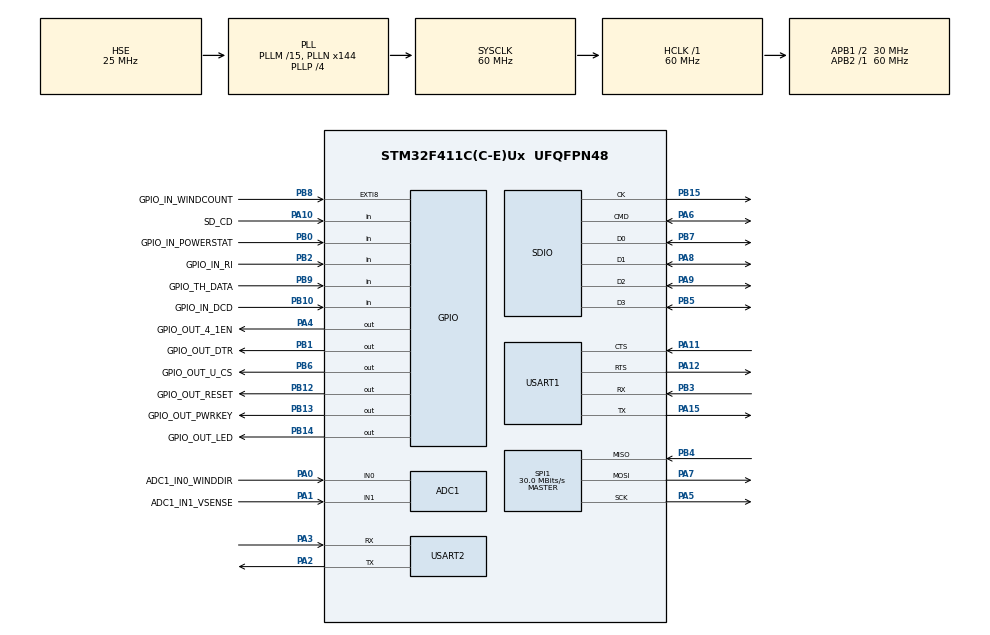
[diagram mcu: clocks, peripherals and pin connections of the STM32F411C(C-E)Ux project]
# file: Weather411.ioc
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ADC1.Channel-14\#ChannelRegularConversion=ADC_CHANNEL_0
ADC1.Channel-15\#ChannelRegularConversion=ADC_CHANNEL_1
ADC1.ContinuousConvMode=ENABLE
ADC1.DMAContinuousRequests=ENABLE
ADC1.EOCSelection=ADC_EOC_SEQ_CONV
ADC1.NbrOfConversion=2
ADC1.NbrOfConversionFlag=1
ADC1.Rank-14\#ChannelRegularConversion=1
ADC1.Rank-15\#ChannelRegularConversion=2
ADC1.SamplingTime-14\#ChannelRegularConversion=ADC_SAMPLETIME_480CYCLES
ADC1.SamplingTime-15\#ChannelRegularConversion=ADC_SAMPLETIME_480CYCLES
ADC1.master=1
Dma.ADC1.0.Direction=DMA_PERIPH_TO_MEMORY
Dma.ADC1.0.FIFOMode=DMA_FIFOMODE_DISABLE
Dma.ADC1.0.Instance=DMA2_Stream0
Dma.ADC1.0.MemDataAlignment=DMA_MDATAALIGN_WORD
Dma.ADC1.0.MemInc=DMA_MINC_ENABLE
Dma.ADC1.0.Mode=DMA_CIRCULAR
Dma.ADC1.0.PeriphDataAlignment=DMA_PDATAALIGN_WORD
Dma.ADC1.0.PeriphInc=DMA_PINC_DISABLE
Dma.ADC1.0.Priority=DMA_PRIORITY_LOW
Dma.Request0=ADC1
Dma.Request1=SDIO_RX
Dma.Request2=SDIO_TX
Dma.SDIO_RX.1.Direction=DMA_PERIPH_TO_MEMORY
Dma.SDIO_RX.1.FIFOMode=DMA_FIFOMODE_ENABLE
Dma.SDIO_RX.1.FIFOThreshold=DMA_FIFO_THRESHOLD_FULL
Dma.SDIO_RX.1.Instance=DMA2_Stream3
Dma.SDIO_RX.1.MemBurst=DMA_MBURST_INC4
Dma.SDIO_RX.1.MemDataAlignment=DMA_MDATAALIGN_WORD
Dma.SDIO_RX.1.MemInc=DMA_MINC_ENABLE
Dma.SDIO_RX.1.Mode=DMA_PFCTRL
Dma.SDIO_RX.1.PeriphBurst=DMA_PBURST_INC4
Dma.SDIO_RX.1.PeriphDataAlignment=DMA_PDATAALIGN_WORD
Dma.SDIO_RX.1.PeriphInc=DMA_PINC_DISABLE
Dma.SDIO_RX.1.Priority=DMA_PRIORITY_LOW
Dma.SDIO_TX.2.Direction=DMA_MEMORY_TO_PERIPH
Dma.SDIO_TX.2.FIFOMode=DMA_FIFOMODE_ENABLE
Dma.SDIO_TX.2.FIFOThreshold=DMA_FIFO_THRESHOLD_FULL
Dma.SDIO_TX.2.Instance=DMA2_Stream6
Dma.SDIO_TX.2.MemBurst=DMA_MBURST_INC4
Dma.SDIO_TX.2.MemDataAlignment=DMA_MDATAALIGN_WORD
Dma.SDIO_TX.2.MemInc=DMA_MINC_ENABLE
Dma.SDIO_TX.2.Mode=DMA_PFCTRL
Dma.SDIO_TX.2.PeriphBurst=DMA_PBURST_INC4
Dma.SDIO_TX.2.PeriphDataAlignment=DMA_PDATAALIGN_WORD
Dma.SDIO_TX.2.PeriphInc=DMA_PINC_DISABLE
Dma.SDIO_TX.2.Priority=DMA_PRIORITY_LOW
FATFS.BSP.number=1
FATFS.USE_DMA_CODE_SD=1
FATFS._MAX_SS=4096
FATFS._USE_STRFUNC=1
FATFS0.BSP.STBoard=false
FATFS0.BSP.api=Unknown
FATFS0.BSP.instance=PA10
FATFS0.BSP.ip=GPIO
FATFS0.BSP.mode=Input
FATFS0.BSP.name=Detect_SDIO
FATFS0.BSP.solution=PA10
IWDG.Prescaler=IWDG_PRESCALER_256
Mcu.Family=STM32F4
Mcu.Name=STM32F411C(C-E)Ux
Mcu.Package=UFQFPN48
NVIC.DMA2_Stream0_IRQn=true\:3\:0\:true\:false\:true\:false\:true\:true
NVIC.DMA2_Stream3_IRQn=true\:0\:0\:false\:false\:true\:false\:true\:true
NVIC.DMA2_Stream6_IRQn=true\:0\:0\:false\:false\:true\:false\:true\:true
NVIC.EXTI9_5_IRQn=true\:1\:0\:true\:false\:true\:true\:true\:true
NVIC.PriorityGroup=NVIC_PRIORITYGROUP_4
NVIC.SDIO_IRQn=true\:0\:0\:false\:false\:true\:true\:true\:true
NVIC.TIM3_IRQn=true\:2\:0\:true\:false\:true\:true\:true\:true
NVIC.USART1_IRQn=true\:3\:0\:true\:false\:true\:true\:true\:true
NVIC.USART2_IRQn=true\:3\:0\:true\:false\:true\:true\:true\:true
PA0-WKUP.GPIO_Label=ADC1_IN0_WINDDIR
PA0-WKUP.GPIO_Mode=GPIO_MODE_ANALOG
PA0-WKUP.GPIO_PuPd=GPIO_NOPULL
PA0-WKUP.Signal=ADCx_IN0
PA1.GPIO_Label=ADC1_IN1_VSENSE
PA1.GPIO_Mode=GPIO_MODE_ANALOG
PA1.GPIO_PuPd=GPIO_NOPULL
PA1.Signal=ADCx_IN1
PA10.GPIO_Label=SD_CD
PA10.Signal=GPIO_Input
PA11.Mode=CTS_RTS
PA11.Signal=USART1_CTS
PA12.Mode=CTS_RTS
PA12.Signal=USART1_RTS
PA13.Signal=SYS_JTMS-SWDIO
PA14.Signal=SYS_JTCK-SWCLK
PA15.Mode=Asynchronous
PA15.Signal=USART1_TX
PA2.Mode=Asynchronous
PA2.Signal=USART2_TX
PA3.Mode=Asynchronous
PA3.Signal=USART2_RX
PA4.GPIO_Label=GPIO_OUT_4_1EN
PA4.GPIO_ModeDefaultOutputPP=GPIO_MODE_OUTPUT_PP
PA4.GPIO_PuPd=GPIO_NOPULL
PA4.GPIO_Speed=GPIO_SPEED_FREQ_LOW
PA4.PinState=GPIO_PIN_RESET
PA4.Signal=GPIO_Output
PA5.Mode=Full_Duplex_Master
PA5.Signal=SPI1_SCK
PA6.GPIO_Mode=GPIO_MODE_AF_PP
PA6.GPIO_PuPd=GPIO_PULLUP
PA6.GPIO_Speed_High_Default=GPIO_SPEED_FREQ_VERY_HIGH
PA6.Mode=SD_4_bits_Wide_bus
PA6.Signal=SDIO_CMD
PA7.Mode=Full_Duplex_Master
PA7.Signal=SPI1_MOSI
PA8.GPIO_Mode=GPIO_MODE_AF_PP
PA8.GPIO_PuPd=GPIO_PULLUP
PA8.GPIO_Speed_High_Default=GPIO_SPEED_FREQ_VERY_HIGH
PA8.Mode=SD_4_bits_Wide_bus
PA8.Signal=SDIO_D1
PA9.GPIO_Mode=GPIO_MODE_AF_PP
PA9.GPIO_PuPd=GPIO_PULLUP
PA9.GPIO_Speed_High_Default=GPIO_SPEED_FREQ_VERY_HIGH
PA9.Mode=SD_4_bits_Wide_bus
PA9.Signal=SDIO_D2
PB0.GPIO_Label=GPIO_IN_POWERSTAT
PB0.GPIO_Mode=GPIO_MODE_INPUT
PB0.GPIO_PuPd=GPIO_NOPULL
PB0.Signal=GPIO_Input
PB1.GPIO_Label=GPIO_OUT_DTR
PB1.GPIO_ModeDefaultOutputPP=GPIO_MODE_OUTPUT_PP
PB1.GPIO_PuPd=GPIO_NOPULL
PB1.GPIO_Speed=GPIO_SPEED_FREQ_LOW
PB1.PinState=GPIO_PIN_RESET
PB1.Signal=GPIO_Output
PB10.GPIO_Label=GPIO_IN_DCD
PB10.GPIO_Mode=GPIO_MODE_INPUT
PB10.GPIO_PuPd=GPIO_NOPULL
PB10.Signal=GPIO_Input
PB12.GPIO_Label=GPIO_OUT_RESET
PB12.GPIO_ModeDefaultOutputPP=GPIO_MODE_OUTPUT_PP
PB12.GPIO_PuPd=GPIO_NOPULL
PB12.GPIO_Speed=GPIO_SPEED_FREQ_LOW
PB12.PinState=GPIO_PIN_RESET
PB12.Signal=GPIO_Output
PB13.GPIO_Label=GPIO_OUT_PWRKEY
PB13.GPIO_ModeDefaultOutputPP=GPIO_MODE_OUTPUT_PP
PB13.GPIO_PuPd=GPIO_NOPULL
PB13.GPIO_Speed=GPIO_SPEED_FREQ_LOW
PB13.PinState=GPIO_PIN_RESET
PB13.Signal=GPIO_Output
PB14.GPIO_Label=GPIO_OUT_LED
PB14.Signal=GPIO_Output
PB15.Mode=SD_4_bits_Wide_bus
PB15.Signal=SDIO_CK
PB2.GPIO_Label=GPIO_IN_RI
PB2.GPIO_Mode=GPIO_MODE_INPUT
PB2.GPIO_PuPd=GPIO_NOPULL
PB2.Signal=GPIO_Input
PB3.Mode=Asynchronous
PB3.Signal=USART1_RX
PB4.Mode=Full_Duplex_Master
PB4.Signal=SPI1_MISO
PB5.GPIO_Mode=GPIO_MODE_AF_PP
PB5.GPIO_PuPd=GPIO_PULLUP
PB5.GPIO_Speed_High_Default=GPIO_SPEED_FREQ_VERY_HIGH
PB5.Mode=SD_4_bits_Wide_bus
PB5.Signal=SDIO_D3
PB6.GPIO_Label=GPIO_OUT_U_CS
PB6.GPIO_ModeDefaultOutputPP=GPIO_MODE_OUTPUT_PP
PB6.GPIO_PuPd=GPIO_NOPULL
PB6.GPIO_Speed=GPIO_SPEED_FREQ_LOW
PB6.PinState=GPIO_PIN_RESET
PB6.Signal=GPIO_Output
PB7.GPIO_Mode=GPIO_MODE_AF_PP
PB7.GPIO_PuPd=GPIO_PULLUP
PB7.GPIO_Speed_High_Default=GPIO_SPEED_FREQ_VERY_HIGH
PB7.Mode=SD_4_bits_Wide_bus
PB7.Signal=SDIO_D0
PB8.GPIO_Label=GPIO_IN_WINDCOUNT
PB8.GPIO_ModeDefaultEXTI=GPIO_MODE_IT_RISING
PB8.GPIO_PuPd=GPIO_NOPULL
PB8.Signal=GPXTI8
PB9.GPIO_Label=GPIO_TH_DATA
PB9.GPIO_Mode=GPIO_MODE_INPUT
PB9.GPIO_PuPd=GPIO_NOPULL
PB9.Signal=GPIO_Input
PC14-OSC32_IN.Signal=RCC_OSC32_IN
PC15-OSC32_OUT.Signal=RCC_OSC32_OUT
PH0\ -\ OSC_IN.Mode=HSE-External-Oscillator
PH0\ -\ OSC_IN.Signal=RCC_OSC_IN
PH1\ -\ OSC_OUT.Mode=HSE-External-Oscillator
PH1\ -\ OSC_OUT.Signal=RCC_OSC_OUT
ProjectManager.HeapSize=0x1200
ProjectManager.StackSize=0x1200
ProjectManager.TargetToolchain=STM32CubeIDE
RCC.48MHZClocksFreq_Value=48000000
RCC.AHBFreq_Value=60000000
RCC.APB1CLKDivider=RCC_HCLK_DIV2
RCC.APB1Freq_Value=30000000
RCC.APB1TimFreq_Value=60000000
RCC.APB2Freq_Value=60000000
RCC.APB2TimFreq_Value=60000000
RCC.CortexFreq_Value=60000000
RCC.HCLKFreq_Value=60000000
RCC.HSE_VALUE=25000000
RCC.HSI_VALUE=16000000
RCC.LSE_VALUE=32768
RCC.PLLM=15
RCC.PLLN=144
RCC.PLLP=RCC_PLLP_DIV4
RCC.PLLQ=5
RCC.PLLSourceVirtual=RCC_PLLSOURCE_HSE
RCC.RCC_RTC_Clock_Source=RCC_RTCCLKSOURCE_HSE_DIV25
RCC.RCC_RTC_Clock_SourceVirtual=RCC_RTCCLKSOURCE_LSE
RCC.RCC_RTC_Clock_Source_FROM_HSE=RCC_RTCCLKSOURCE_HSE_DIV25
RCC.SYSCLKFreq_VALUE=60000000
RCC.SYSCLKSource=RCC_SYSCLKSOURCE_PLLCLK
RCC.VCOOutputFreq_Value=240000000
RTC.AsynchPrediv=125-1
RTC.Date=24
RTC.Format=RTC_FORMAT_BIN
RTC.Month=RTC_MONTH_OCTOBER
RTC.StoreOperation=RTC_STOREOPERATION_RESET
RTC.SynchPrediv=7999-1
RTC.WeekDay=RTC_WEEKDAY_SATURDAY
RTC.Year=20
SDIO.ClockDiv=2
SH.ADCx_IN0.0=ADC1_IN0,IN0
SH.ADCx_IN1.0=ADC1_IN1,IN1
SPI1.BaudRatePrescaler=SPI_BAUDRATEPRESCALER_2
SPI1.CalculateBaudRate=30.0 MBits/s
SPI1.Direction=SPI_DIRECTION_2LINES
SPI1.Mode=SPI_MODE_MASTER
SPI1.VirtualType=VM_MASTER
TIM10.Prescaler=60000-1
TIM2.Prescaler=60000-1
TIM3.AutoReloadPreload=TIM_AUTORELOAD_PRELOAD_ENABLE
TIM3.Period=2250-1
TIM3.Prescaler=60000-1
TIM4.Prescaler=60000-1
TIM5.Prescaler=60000-1
TIM9.Prescaler=60-1
USART1.VirtualMode=VM_ASYNC
USART2.VirtualMode=VM_ASYNC
VP_FATFS_VS_SDIO.Mode=SDIO
VP_IWDG_VS_IWDG.Mode=IWDG_Activate
VP_RTC_VS_RTC_Activate.Mode=RTC_Enabled
VP_RTC_VS_RTC_Calendar.Mode=RTC_Calendar
VP_TIM10_VS_ClockSourceINT.Mode=Enable_Timer
VP_TIM2_VS_ClockSourceINT.Mode=Internal
VP_TIM3_VS_ClockSourceINT.Mode=Internal
VP_TIM4_VS_ClockSourceINT.Mode=Internal
VP_TIM5_VS_ClockSourceINT.Mode=Internal
VP_TIM9_VS_ClockSourceINT.Mode=Internal
board=custom

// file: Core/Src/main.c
/* USER CODE BEGIN Header */
/**
 ******************************************************************************
 * @file           : main.c
 * @brief          : Main program body
 ******************************************************************************
 * @attention
 *
 * <h2><center>&copy; Copyright (c) 2020 STMicroelectronics.
 * All rights reserved.</center></h2>
 *
 * This software component is licensed by ST under BSD 3-Clause license,
 * the "License"; You may not use this file except in compliance with the
 * License. You may obtain a copy of the License at:
 *                        opensource.org/licenses/BSD-3-Clause
 *
 ******************************************************************************
 */
/* USER CODE END Header */
#include "main.h"
#include "fatfs.h"

/* USER CODE BEGIN Includes */
#include "UartRingbuffer.h"
#include "stdio.h"
#include "ms5611.h"
#include "dht22.h"
#include "math.h"
#include "timeUtil.h"
#include "sim7600.h"
#include "measure_buffer.h"
#include "global.h"

/* USER CODE END Includes */

/* USER CODE BEGIN PD */

//#define pc_uart &huart2
//#define sim_uart &huart1
//#define PERIOD 2.25
//#define AVG_NUM 5
#define deg2rad 0.0174532925
#define rad2deg 57.2957795
#define H_TEST 99

/* USER CODE END PD */

ADC_HandleTypeDef hadc1;
DMA_HandleTypeDef hdma_adc1;

IWDG_HandleTypeDef hiwdg;

RTC_HandleTypeDef hrtc;

SD_HandleTypeDef hsd;
DMA_HandleTypeDef hdma_sdio_rx;
DMA_HandleTypeDef hdma_sdio_tx;

SPI_HandleTypeDef hspi1;

TIM_HandleTypeDef htim2;
TIM_HandleTypeDef htim3;
TIM_HandleTypeDef htim4;
TIM_HandleTypeDef htim5;
TIM_HandleTypeDef htim9;
TIM_HandleTypeDef htim10;

UART_HandleTypeDef huart1;
UART_HandleTypeDef huart2;

/* USER CODE BEGIN PV */

GPIO_PinState simStatus;
uint32_t adcValues[2];  // to store the adc values
char buffer[100];

uint32_t powerOnIndex = 1;

float temperature = 0;
float humidity = 0;
//long pressure = 0;

uint16_t windCount;
uint16_t mph;
float direction;
float battery;

//for averaging
uint8_t avgCount;
float vectorX;
float vectorY;

uint16_t maxSpeed = 0;
uint16_t minSpeed = 1000;
float avgSpeed;
float avgDirection;

float batSum;

FFWX_Measurement currentMeasurement;

uint8_t newMeasurement = 0;

uint8_t lastHour = H_TEST;
uint8_t thisHour = H_TEST;

EpochTime epochTime;

uint16_t avgNum = 5;

/* USER CODE END PV */

void SystemClock_Config(void);
static void MX_GPIO_Init(void);
static void MX_DMA_Init(void);
static void MX_SDIO_SD_Init(void);
static void MX_USART1_UART_Init(void);
static void MX_ADC1_Init(void);
static void MX_USART2_UART_Init(void);
static void MX_SPI1_Init(void);
static void MX_RTC_Init(void);
static void MX_TIM9_Init(void);
static void MX_TIM3_Init(void);
static void MX_TIM2_Init(void);
static void MX_TIM4_Init(void);
static void MX_TIM5_Init(void);
static void MX_IWDG_Init(void);
static void MX_TIM10_Init(void);
/* USER CODE BEGIN PFP */

void HAL_GPIO_EXTI_Callback(uint16_t GPIO_Pin);

/* USER CODE END PFP */

int main(void)
{

  /* MCU Configuration--------------------------------------------------------*/

  /* Reset of all peripherals, Initializes the Flash interface and the Systick. */
  HAL_Init();

  /* Configure the system clock */
  SystemClock_Config();

  /* Initialize all configured peripherals */
  MX_GPIO_Init();
  MX_DMA_Init();
  MX_SDIO_SD_Init();
  MX_USART1_UART_Init();
  MX_ADC1_Init();
  MX_USART2_UART_Init();
  MX_FATFS_Init();
  MX_SPI1_Init();
  MX_RTC_Init();
  MX_TIM9_Init();
  MX_TIM3_Init();
  MX_TIM2_Init();
  MX_TIM4_Init();
  MX_TIM5_Init();
  MX_IWDG_Init();
  MX_TIM10_Init();
  /* USER CODE BEGIN 2 */

	Ringbuf_Init();  // init the ring buffer for UART

	Uart_SendString("\r\nStarting FreeFlightWX v", pc_uart);
	Uart_SendString(MAJOR_VERSION, pc_uart);
	Uart_SendString("_", pc_uart);
	Uart_SendString(BUILD_NUMBER, pc_uart);
	Uart_SendString("\r\n", pc_uart);

	initMeasureBuffer();

	SDcard_Init();

	openSettingsFromSD();

	initTime();

	HAL_TIM_Base_Start(&htim9);

	HAL_ADC_Start_DMA(&hadc1, adcValues, 2);  // start the adc in dma mode. adcValues is the buffer, where the adc values are going to store

	//startup sensors

	MS5611_Init();//ms5611 init

	get_DHT_Temp_Hum(&temperature, &humidity);
	sprintf(buffer, "Temperature:%.1f Humidity:%.1f ",temperature,humidity);
	Uart_SendString(buffer, pc_uart);

	uint32_t pressure = getPressure();
	sprintf(buffer, "Pressure %X %lu\r\n",(unsigned int) pressure,pressure);
	Uart_SendString(buffer, pc_uart);

	Uart_SendString("Begin 2250 ms timer (htim3)\r\n", pc_uart);
	HAL_TIM_Base_Start_IT(&htim3);

  /* USER CODE END 2 */

  /* Infinite loop */
	while (1)
	{

    /* USER CODE BEGIN 3 */

		//1. refresh watchdog timer - the ultimate restart failsafe if something else does not work
		HAL_IWDG_Refresh(&hiwdg);

		//2. has a shutdown been scheduled
		checkShutdown();//actually executes the shutdown if scheduled an the timer has expired.

		//3. If the time is ok, save settings to SD (if there are new settings, and check for restart hour.
		if(getTimeState() == TIMESTATE_OK_NITZ || getTimeState() == TIMESTATE_OK_SERVER){
			saveSettingsToSD();

			thisHour = getHour();
			if(thisHour == getSettings()->RSH && thisHour!=lastHour && lastHour != H_TEST){//it is the restart hour, and the first time we have seen it.
				sprintf(buffer, "Restart hour %i reached. Restarting... \r\n\r\n",getSettings()->RSH);
				Uart_SendString(buffer, pc_uart);

				shutdown();

			}

			lastHour = thisHour;
		}

		//4. Do we have a new measurement to deal with? If the time is ok, add time to it and add it to the measurement list ready for sending
		if(newMeasurement ){
			if(getTimeState() == TIMESTATE_OK_NITZ || getTimeState() == TIMESTATE_OK_SERVER){
				currentMeasurement.index = powerOnIndex++;
				getEpochTime(&currentMeasurement.unix_time);
				currentMeasurement.pressure = getPressure();

				uint8_t res;
				res = get_DHT_Temp_Hum(&temperature, &humidity);
				if(!res){
					Uart_SendString("\r\nTemperature and Humidity not updated. DHT22 Not Responding", pc_uart);
				}
				currentMeasurement.temperature = temperature;
				currentMeasurement.humidity = humidity;

				currentMeasurement.csq = 199;

				addMeasurement(&currentMeasurement);
				newMeasurement = 0;

				Uart_SendString("\r\n*  *  *  *  *\r\nNew FFWX measurement recorded at: ", pc_uart);
				getTimeChar(buffer);
				Uart_SendString(buffer, pc_uart);
				Uart_SendString("\r\n", pc_uart);
				measurementToSentance(&currentMeasurement, buffer);
				Uart_SendString(buffer, pc_uart);
				Log(buffer,1);
			}
			else{
				Uart_SendString("\r\n*  *  *  *  *\r\nNew FFWX measurement discarded - time not set\r\n ", pc_uart);
				newMeasurement = 0;
//				currentMeasurement.unix_time.ms = 0;
//				currentMeasurement.unix_time.seconds = 0;
			}

		}

		//5. Write data to the SD card.
		//Only write to the SD card if it less than 3ms since the last external interrupt cased by the anemometer,
		//or if it is less than 3ms since a 2.25s timer interrupt with 0 measurements.
		//This minimizes the chance of a external interrupt from the anemometer in the middle of SD card writing.
		if(timer10_ms_get() <= 3){
			checkWriteLogBuffer();
			checkSDError();
		}

		//6. Manage sending the sim7600 state machine, if the power is ok, then manage commands (and send measurements)
		if(sim7600_powerProcessor()){
			sim7600_commandProcessor();
		}

		//7. Process data from U2, (and send it to U1)
		while (IsDataAvailable(pc_uart)){
			int data = Uart_read(pc_uart);
			pc_uart_processChar(data);
			Uart_write(data, device_uart);
		}

		//8. Process data from U1, (and send it to U2)
		while (IsDataAvailable(device_uart)){
			int data = Uart_read(device_uart);
			sim7600_processChar(data);
			Uart_write(data, pc_uart);
		}

	}
  /* USER CODE END 3 */
}

void SystemClock_Config(void)
{
  RCC_OscInitTypeDef RCC_OscInitStruct = {0};
  RCC_ClkInitTypeDef RCC_ClkInitStruct = {0};

  /** Configure the main internal regulator output voltage
  */
  __HAL_RCC_PWR_CLK_ENABLE();
  __HAL_PWR_VOLTAGESCALING_CONFIG(PWR_REGULATOR_VOLTAGE_SCALE1);

  /** Initializes the RCC Oscillators according to the specified parameters
  * in the RCC_OscInitTypeDef structure.
  */
  RCC_OscInitStruct.OscillatorType = RCC_OSCILLATORTYPE_LSI|RCC_OSCILLATORTYPE_HSE;
  RCC_OscInitStruct.HSEState = RCC_HSE_ON;
  RCC_OscInitStruct.LSIState = RCC_LSI_ON;
  RCC_OscInitStruct.PLL.PLLState = RCC_PLL_ON;
  RCC_OscInitStruct.PLL.PLLSource = RCC_PLLSOURCE_HSE;
  RCC_OscInitStruct.PLL.PLLM = 15;
  RCC_OscInitStruct.PLL.PLLN = 144;
  RCC_OscInitStruct.PLL.PLLP = RCC_PLLP_DIV4;
  RCC_OscInitStruct.PLL.PLLQ = 5;
  if (HAL_RCC_OscConfig(&RCC_OscInitStruct) != HAL_OK)
  {
    Error_Handler();
  }

  /** Initializes the CPU, AHB and APB buses clocks
  */
  RCC_ClkInitStruct.ClockType = RCC_CLOCKTYPE_HCLK|RCC_CLOCKTYPE_SYSCLK
                              |RCC_CLOCKTYPE_PCLK1|RCC_CLOCKTYPE_PCLK2;
  RCC_ClkInitStruct.SYSCLKSource = RCC_SYSCLKSOURCE_PLLCLK;
  RCC_ClkInitStruct.AHBCLKDivider = RCC_SYSCLK_DIV1;
  RCC_ClkInitStruct.APB1CLKDivider = RCC_HCLK_DIV2;
  RCC_ClkInitStruct.APB2CLKDivider = RCC_HCLK_DIV1;

  if (HAL_RCC_ClockConfig(&RCC_ClkInitStruct, FLASH_LATENCY_1) != HAL_OK)
  {
    Error_Handler();
  }
}

static void MX_ADC1_Init(void)
{

  ADC_ChannelConfTypeDef sConfig = {0};

  /** Configure the global features of the ADC (Clock, Resolution, Data Alignment and number of conversion)
  */
  hadc1.Instance = ADC1;
  hadc1.Init.ClockPrescaler = ADC_CLOCK_SYNC_PCLK_DIV2;
  hadc1.Init.Resolution = ADC_RESOLUTION_12B;
  hadc1.Init.ScanConvMode = ENABLE;
  hadc1.Init.ContinuousConvMode = ENABLE;
  hadc1.Init.DiscontinuousConvMode = DISABLE;
  hadc1.Init.ExternalTrigConvEdge = ADC_EXTERNALTRIGCONVEDGE_NONE;
  hadc1.Init.ExternalTrigConv = ADC_SOFTWARE_START;
  hadc1.Init.DataAlign = ADC_DATAALIGN_RIGHT;
  hadc1.Init.NbrOfConversion = 2;
  hadc1.Init.DMAContinuousRequests = ENABLE;
  hadc1.Init.EOCSelection = ADC_EOC_SEQ_CONV;
  if (HAL_ADC_Init(&hadc1) != HAL_OK)
  {
    Error_Handler();
  }

  /** Configure for the selected ADC regular channel its corresponding rank in the sequencer and its sample time.
  */
  sConfig.Channel = ADC_CHANNEL_0;
  sConfig.Rank = 1;
  sConfig.SamplingTime = ADC_SAMPLETIME_480CYCLES;
  if (HAL_ADC_ConfigChannel(&hadc1, &sConfig) != HAL_OK)
  {
    Error_Handler();
  }

  /** Configure for the selected ADC regular channel its corresponding rank in the sequencer and its sample time.
  */
  sConfig.Channel = ADC_CHANNEL_1;
  sConfig.Rank = 2;
  if (HAL_ADC_ConfigChannel(&hadc1, &sConfig) != HAL_OK)
  {
    Error_Handler();
  }

}

static void MX_IWDG_Init(void)
{

  hiwdg.Instance = IWDG;
  hiwdg.Init.Prescaler = IWDG_PRESCALER_256;
  hiwdg.Init.Reload = 4095;
  if (HAL_IWDG_Init(&hiwdg) != HAL_OK)
  {
    Error_Handler();
  }

}

static void MX_RTC_Init(void)
{

  RTC_TimeTypeDef sTime = {0};
  RTC_DateTypeDef sDate = {0};

  /** Initialize RTC Only
  */
  hrtc.Instance = RTC;
  hrtc.Init.HourFormat = RTC_HOURFORMAT_24;
  hrtc.Init.AsynchPrediv = 125-1;
  hrtc.Init.SynchPrediv = 7999-1;
  hrtc.Init.OutPut = RTC_OUTPUT_DISABLE;
  hrtc.Init.OutPutPolarity = RTC_OUTPUT_POLARITY_HIGH;
  hrtc.Init.OutPutType = RTC_OUTPUT_TYPE_OPENDRAIN;
  if (HAL_RTC_Init(&hrtc) != HAL_OK)
  {
    Error_Handler();
  }

  /** Initialize RTC and set the Time and Date
  */
  sTime.Hours = 0;
  sTime.Minutes = 0;
  sTime.Seconds = 0;
  sTime.DayLightSaving = RTC_DAYLIGHTSAVING_NONE;
  sTime.StoreOperation = RTC_STOREOPERATION_RESET;
  if (HAL_RTC_SetTime(&hrtc, &sTime, RTC_FORMAT_BIN) != HAL_OK)
  {
    Error_Handler();
  }
  sDate.WeekDay = RTC_WEEKDAY_SATURDAY;
  sDate.Month = RTC_MONTH_OCTOBER;
  sDate.Date = 24;
  sDate.Year = 20;

  if (HAL_RTC_SetDate(&hrtc, &sDate, RTC_FORMAT_BIN) != HAL_OK)
  {
    Error_Handler();
  }

}

static void MX_SDIO_SD_Init(void)
{

  hsd.Instance = SDIO;
  hsd.Init.ClockEdge = SDIO_CLOCK_EDGE_RISING;
  hsd.Init.ClockBypass = SDIO_CLOCK_BYPASS_DISABLE;
  hsd.Init.ClockPowerSave = SDIO_CLOCK_POWER_SAVE_DISABLE;
  hsd.Init.BusWide = SDIO_BUS_WIDE_1B;
  hsd.Init.HardwareFlowControl = SDIO_HARDWARE_FLOW_CONTROL_DISABLE;
  hsd.Init.ClockDiv = 2;

}

static void MX_SPI1_Init(void)
{

  /* SPI1 parameter configuration*/
  hspi1.Instance = SPI1;
  hspi1.Init.Mode = SPI_MODE_MASTER;
  hspi1.Init.Direction = SPI_DIRECTION_2LINES;
  hspi1.Init.DataSize = SPI_DATASIZE_8BIT;
  hspi1.Init.CLKPolarity = SPI_POLARITY_LOW;
  hspi1.Init.CLKPhase = SPI_PHASE_1EDGE;
  hspi1.Init.NSS = SPI_NSS_SOFT;
  hspi1.Init.BaudRatePrescaler = SPI_BAUDRATEPRESCALER_2;
  hspi1.Init.FirstBit = SPI_FIRSTBIT_MSB;
  hspi1.Init.TIMode = SPI_TIMODE_DISABLE;
  hspi1.Init.CRCCalculation = SPI_CRCCALCULATION_DISABLE;
  hspi1.Init.CRCPolynomial = 10;
  if (HAL_SPI_Init(&hspi1) != HAL_OK)
  {
    Error_Handler();
  }

}

static void MX_TIM2_Init(void)
{

  TIM_ClockConfigTypeDef sClockSourceConfig = {0};
  TIM_MasterConfigTypeDef sMasterConfig = {0};

  htim2.Instance = TIM2;
  htim2.Init.Prescaler = 60000-1;
  htim2.Init.CounterMode = TIM_COUNTERMODE_UP;
  htim2.Init.Period = 4294967295;
  htim2.Init.ClockDivision = TIM_CLOCKDIVISION_DIV1;
  htim2.Init.AutoReloadPreload = TIM_AUTORELOAD_PRELOAD_DISABLE;
  if (HAL_TIM_Base_Init(&htim2) != HAL_OK)
  {
    Error_Handler();
  }
  sClockSourceConfig.ClockSource = TIM_CLOCKSOURCE_INTERNAL;
  if (HAL_TIM_ConfigClockSource(&htim2, &sClockSourceConfig) != HAL_OK)
  {
    Error_Handler();
  }
  sMasterConfig.MasterOutputTrigger = TIM_TRGO_RESET;
  sMasterConfig.MasterSlaveMode = TIM_MASTERSLAVEMODE_DISABLE;
  if (HAL_TIMEx_MasterConfigSynchronization(&htim2, &sMasterConfig) != HAL_OK)
  {
    Error_Handler();
  }

}

static void MX_TIM3_Init(void)
{

  TIM_ClockConfigTypeDef sClockSourceConfig = {0};
  TIM_MasterConfigTypeDef sMasterConfig = {0};

  htim3.Instance = TIM3;
  htim3.Init.Prescaler = 60000-1;
  htim3.Init.CounterMode = TIM_COUNTERMODE_UP;
  htim3.Init.Period = 2250-1;
  htim3.Init.ClockDivision = TIM_CLOCKDIVISION_DIV1;
  htim3.Init.AutoReloadPreload = TIM_AUTORELOAD_PRELOAD_ENABLE;
  if (HAL_TIM_Base_Init(&htim3) != HAL_OK)
  {
    Error_Handler();
  }
  sClockSourceConfig.ClockSource = TIM_CLOCKSOURCE_INTERNAL;
  if (HAL_TIM_ConfigClockSource(&htim3, &sClockSourceConfig) != HAL_OK)
  {
    Error_Handler();
  }
  sMasterConfig.MasterOutputTrigger = TIM_TRGO_RESET;
  sMasterConfig.MasterSlaveMode = TIM_MASTERSLAVEMODE_DISABLE;
  if (HAL_TIMEx_MasterConfigSynchronization(&htim3, &sMasterConfig) != HAL_OK)
  {
    Error_Handler();
  }

}

static void MX_TIM4_Init(void)
{

  TIM_ClockConfigTypeDef sClockSourceConfig = {0};
  TIM_MasterConfigTypeDef sMasterConfig = {0};

  htim4.Instance = TIM4;
  htim4.Init.Prescaler = 60000-1;
  htim4.Init.CounterMode = TIM_COUNTERMODE_UP;
  htim4.Init.Period = 65535;
  htim4.Init.ClockDivision = TIM_CLOCKDIVISION_DIV1;
  htim4.Init.AutoReloadPreload = TIM_AUTORELOAD_PRELOAD_DISABLE;
  if (HAL_TIM_Base_Init(&htim4) != HAL_OK)
  {
    Error_Handler();
  }
  sClockSourceConfig.ClockSource = TIM_CLOCKSOURCE_INTERNAL;
  if (HAL_TIM_ConfigClockSource(&htim4, &sClockSourceConfig) != HAL_OK)
  {
    Error_Handler();
  }
  sMasterConfig.MasterOutputTrigger = TIM_TRGO_RESET;
  sMasterConfig.MasterSlaveMode = TIM_MASTERSLAVEMODE_DISABLE;
  if (HAL_TIMEx_MasterConfigSynchronization(&htim4, &sMasterConfig) != HAL_OK)
  {
    Error_Handler();
  }

}

static void MX_TIM5_Init(void)
{

  TIM_ClockConfigTypeDef sClockSourceConfig = {0};
  TIM_MasterConfigTypeDef sMasterConfig = {0};

  htim5.Instance = TIM5;
  htim5.Init.Prescaler = 60000-1;
  htim5.Init.CounterMode = TIM_COUNTERMODE_UP;
  htim5.Init.Period = 4294967295;
  htim5.Init.ClockDivision = TIM_CLOCKDIVISION_DIV1;
  htim5.Init.AutoReloadPreload = TIM_AUTORELOAD_PRELOAD_DISABLE;
  if (HAL_TIM_Base_Init(&htim5) != HAL_OK)
  {
    Error_Handler();
  }
  sClockSourceConfig.ClockSource = TIM_CLOCKSOURCE_INTERNAL;
  if (HAL_TIM_ConfigClockSource(&htim5, &sClockSourceConfig) != HAL_OK)
  {
    Error_Handler();
  }
  sMasterConfig.MasterOutputTrigger = TIM_TRGO_RESET;
  sMasterConfig.MasterSlaveMode = TIM_MASTERSLAVEMODE_DISABLE;
  if (HAL_TIMEx_MasterConfigSynchronization(&htim5, &sMasterConfig) != HAL_OK)
  {
    Error_Handler();
  }

}

static void MX_TIM9_Init(void)
{

  TIM_ClockConfigTypeDef sClockSourceConfig = {0};

  htim9.Instance = TIM9;
  htim9.Init.Prescaler = 60-1;
  htim9.Init.CounterMode = TIM_COUNTERMODE_UP;
  htim9.Init.Period = 65535;
  htim9.Init.ClockDivision = TIM_CLOCKDIVISION_DIV1;
  htim9.Init.AutoReloadPreload = TIM_AUTORELOAD_PRELOAD_DISABLE;
  if (HAL_TIM_Base_Init(&htim9) != HAL_OK)
  {
    Error_Handler();
  }
  sClockSourceConfig.ClockSource = TIM_CLOCKSOURCE_INTERNAL;
  if (HAL_TIM_ConfigClockSource(&htim9, &sClockSourceConfig) != HAL_OK)
  {
    Error_Handler();
  }

}

static void MX_TIM10_Init(void)
{

  htim10.Instance = TIM10;
  htim10.Init.Prescaler = 60000-1;
  htim10.Init.CounterMode = TIM_COUNTERMODE_UP;
  htim10.Init.Period = 65535;
  htim10.Init.ClockDivision = TIM_CLOCKDIVISION_DIV1;
  htim10.Init.AutoReloadPreload = TIM_AUTORELOAD_PRELOAD_DISABLE;
  if (HAL_TIM_Base_Init(&htim10) != HAL_OK)
  {
    Error_Handler();
  }

}

static void MX_USART1_UART_Init(void)
{

  huart1.Instance = USART1;
  huart1.Init.BaudRate = 115200;
  huart1.Init.WordLength = UART_WORDLENGTH_8B;
  huart1.Init.StopBits = UART_STOPBITS_1;
  huart1.Init.Parity = UART_PARITY_NONE;
  huart1.Init.Mode = UART_MODE_TX_RX;
  huart1.Init.HwFlowCtl = UART_HWCONTROL_RTS_CTS;
  huart1.Init.OverSampling = UART_OVERSAMPLING_16;
  if (HAL_UART_Init(&huart1) != HAL_OK)
  {
    Error_Handler();
  }

}

static void MX_USART2_UART_Init(void)
{

  huart2.Instance = USART2;
  huart2.Init.BaudRate = 115200;
  huart2.Init.WordLength = UART_WORDLENGTH_8B;
  huart2.Init.StopBits = UART_STOPBITS_1;
  huart2.Init.Parity = UART_PARITY_NONE;
  huart2.Init.Mode = UART_MODE_TX_RX;
  huart2.Init.HwFlowCtl = UART_HWCONTROL_NONE;
  huart2.Init.OverSampling = UART_OVERSAMPLING_16;
  if (HAL_UART_Init(&huart2) != HAL_OK)
  {
    Error_Handler();
  }

}

static void MX_DMA_Init(void)
{

  /* DMA controller clock enable */
  __HAL_RCC_DMA2_CLK_ENABLE();

  /* DMA interrupt init */
  /* DMA2_Stream0_IRQn interrupt configuration */
  HAL_NVIC_SetPriority(DMA2_Stream0_IRQn, 3, 0);
  HAL_NVIC_EnableIRQ(DMA2_Stream0_IRQn);
  /* DMA2_Stream3_IRQn interrupt configuration */
  HAL_NVIC_SetPriority(DMA2_Stream3_IRQn, 0, 0);
  HAL_NVIC_EnableIRQ(DMA2_Stream3_IRQn);
  /* DMA2_Stream6_IRQn interrupt configuration */
  HAL_NVIC_SetPriority(DMA2_Stream6_IRQn, 0, 0);
  HAL_NVIC_EnableIRQ(DMA2_Stream6_IRQn);

}

static void MX_GPIO_Init(void)
{
  GPIO_InitTypeDef GPIO_InitStruct = {0};

  /* GPIO Ports Clock Enable */
  __HAL_RCC_GPIOC_CLK_ENABLE();
  __HAL_RCC_GPIOH_CLK_ENABLE();
  __HAL_RCC_GPIOA_CLK_ENABLE();
  __HAL_RCC_GPIOB_CLK_ENABLE();

  /*Configure GPIO pin Output Level */
  HAL_GPIO_WritePin(GPIO_OUT_4_1EN_GPIO_Port, GPIO_OUT_4_1EN_Pin, GPIO_PIN_RESET);

  /*Configure GPIO pin Output Level */
  HAL_GPIO_WritePin(GPIOB, GPIO_OUT_DTR_Pin|GPIO_OUT_RESET_Pin|GPIO_OUT_PWRKEY_Pin|GPIO_OUT_LED_Pin
                          |GPIO_OUT_U_CS_Pin, GPIO_PIN_RESET);

  /*Configure GPIO pin : GPIO_OUT_4_1EN_Pin */
  GPIO_InitStruct.Pin = GPIO_OUT_4_1EN_Pin;
  GPIO_InitStruct.Mode = GPIO_MODE_OUTPUT_PP;
  GPIO_InitStruct.Pull = GPIO_NOPULL;
  GPIO_InitStruct.Speed = GPIO_SPEED_FREQ_LOW;
  HAL_GPIO_Init(GPIO_OUT_4_1EN_GPIO_Port, &GPIO_InitStruct);

  /*Configure GPIO pins : GPIO_IN_POWERSTAT_Pin GPIO_IN_RI_Pin GPIO_IN_DCD_Pin GPIO_TH_DATA_Pin */
  GPIO_InitStruct.Pin = GPIO_IN_POWERSTAT_Pin|GPIO_IN_RI_Pin|GPIO_IN_DCD_Pin|GPIO_TH_DATA_Pin;
  GPIO_InitStruct.Mode = GPIO_MODE_INPUT;
  GPIO_InitStruct.Pull = GPIO_NOPULL;
  HAL_GPIO_Init(GPIOB, &GPIO_InitStruct);

  /*Configure GPIO pins : GPIO_OUT_DTR_Pin GPIO_OUT_RESET_Pin GPIO_OUT_PWRKEY_Pin GPIO_OUT_LED_Pin
                           GPIO_OUT_U_CS_Pin */
  GPIO_InitStruct.Pin = GPIO_OUT_DTR_Pin|GPIO_OUT_RESET_Pin|GPIO_OUT_PWRKEY_Pin|GPIO_OUT_LED_Pin
                          |GPIO_OUT_U_CS_Pin;
  GPIO_InitStruct.Mode = GPIO_MODE_OUTPUT_PP;
  GPIO_InitStruct.Pull = GPIO_NOPULL;
  GPIO_InitStruct.Speed = GPIO_SPEED_FREQ_LOW;
  HAL_GPIO_Init(GPIOB, &GPIO_InitStruct);

  /*Configure GPIO pin : SD_CD_Pin */
  GPIO_InitStruct.Pin = SD_CD_Pin;
  GPIO_InitStruct.Mode = GPIO_MODE_INPUT;
  GPIO_InitStruct.Pull = GPIO_NOPULL;
  HAL_GPIO_Init(SD_CD_GPIO_Port, &GPIO_InitStruct);

  /*Configure GPIO pin : GPIO_IN_WINDCOUNT_Pin */
  GPIO_InitStruct.Pin = GPIO_IN_WINDCOUNT_Pin;
  GPIO_InitStruct.Mode = GPIO_MODE_IT_RISING;
  GPIO_InitStruct.Pull = GPIO_NOPULL;
  HAL_GPIO_Init(GPIO_IN_WINDCOUNT_GPIO_Port, &GPIO_InitStruct);

  /* EXTI interrupt init*/
  HAL_NVIC_SetPriority(EXTI9_5_IRQn, 1, 0);
  HAL_NVIC_EnableIRQ(EXTI9_5_IRQn);

}

/* USER CODE BEGIN 4 */

RTC_HandleTypeDef * getHRTC(void){
	return &hrtc;
}

void HAL_GPIO_EXTI_Callback(uint16_t GPIO_Pin){
//	unsigned int timems;
//	char buf[30];
//	timems = (unsigned int)timer10_ms_get();
	if(GPIO_Pin == GPIO_IN_WINDCOUNT_Pin){//this is the windspeed external interrupt occurring on a rising edge; at 200mph = at least 11.25 ms apart
//		sprintf(buf, "XTime %u \r\n", timems);
//		Uart_SendString(buf, pc_uart);

//		delay_us(5);//debounce for 5us

		if(HAL_GPIO_ReadPin(GPIO_IN_WINDCOUNT_GPIO_Port, GPIO_IN_WINDCOUNT_Pin)){
//			Uart_SendString("O\r\n", pc_uart);
			windCount++;
		}
	}
	timer10_ms_restart();
}

// Callback: timer has rolled over
void HAL_TIM_PeriodElapsedCallback(TIM_HandleTypeDef *htim)
{
	// Check which version of the timer triggered this callback and toggle LED
	if (htim == &htim3 )
	{
//		HAL_GPIO_TogglePin(GPIO_OUT_LED_GPIO_Port, GPIO_OUT_LED_Pin);

		uint16_t p = windCount;
		windCount = 0;

//	    mph = p * (2.25/PERIOD);

		if(p == 0){
			timer10_ms_restart();
		}

		mph = p;
	    direction = 0.087890625 * adcValues[0];

//	    sprintf(buffer, "$FFWX,0,%i,%.0f\r\n",mph,direction);
//	   	Uart_SendString(buffer, pc_uart);

//	   	getEpochTime();

	    vectorX += mph * sin(deg2rad * direction);
	    vectorY += mph * cos(deg2rad * direction);

	    if(mph < minSpeed){
	        minSpeed = mph;
	    }
	    if(mph > maxSpeed){
	        maxSpeed = mph;
	    }

	    batSum += adcValues[1]*getSettings()->BCL;

	    avgCount++;

	    avgNum = getSettings()->AVN;

	    if(avgCount >= avgNum){

	        vectorX = vectorX/avgNum;
	        vectorY = vectorY/avgNum;

	        avgSpeed = sqrt(vectorX * vectorX + vectorY * vectorY);
	        avgDirection =  rad2deg * atan2(vectorX, vectorY);

	        if(avgDirection < 0){
	            avgDirection += 360;
	        }

	        if(avgSpeed < 0.001){
	            avgDirection = direction;
	        }

	        currentMeasurement.direction = avgDirection;
	        currentMeasurement.mph = avgSpeed;
	        currentMeasurement.mphMax = maxSpeed;
	        currentMeasurement.mphMin = minSpeed;
	        currentMeasurement.battery = batSum/avgNum;

	        newMeasurement = 1;

	        HAL_GPIO_WritePin(GPIO_OUT_LED_GPIO_Port, GPIO_OUT_LED_Pin,GPIO_PIN_SET);

	        avgCount = 0;
	        vectorX = 0;
	        vectorY = 0;
	        minSpeed = 1000;
	        maxSpeed = 0;
	        batSum = 0;

	    }

	    if(avgCount == 1){
	    	HAL_GPIO_WritePin(GPIO_OUT_LED_GPIO_Port, GPIO_OUT_LED_Pin,GPIO_PIN_RESET);
	    }
	}
}

int8_t user_spi_read(uint8_t reg_addr, uint8_t *reg_data, uint16_t len){

	HAL_GPIO_WritePin(GPIO_OUT_U_CS_GPIO_Port, GPIO_OUT_U_CS_Pin, GPIO_PIN_RESET);

	HAL_SPI_Transmit(&hspi1, &reg_addr , 1,1);
	HAL_SPI_Receive(&hspi1, reg_data, len,1);

	HAL_GPIO_WritePin(GPIO_OUT_U_CS_GPIO_Port, GPIO_OUT_U_CS_Pin, GPIO_PIN_SET);

	int8_t rslt = 0;				// fake goodness

	return(rslt);

}

int8_t user_spi_write(uint8_t reg_addr, uint8_t *reg_data, uint16_t len) {

	HAL_GPIO_WritePin(GPIO_OUT_U_CS_GPIO_Port, GPIO_OUT_U_CS_Pin, GPIO_PIN_RESET);

	HAL_SPI_Transmit(&hspi1, &reg_addr , 1,1);
	if(len > 0){
		HAL_SPI_Transmit(&hspi1, reg_data, len,1);
	}

	HAL_GPIO_WritePin(GPIO_OUT_U_CS_GPIO_Port, GPIO_OUT_U_CS_Pin, GPIO_PIN_SET);

	int8_t rslt = 0; // fake goodness

	return(rslt);

}

void delay_us (uint16_t us)
{
	__HAL_TIM_SET_COUNTER(&htim9,0);  // set the counter value a 0
	while (__HAL_TIM_GET_COUNTER(&htim9) < us);  // wait for the counter to reach the us input in the parameter
}

void timer2_ms_restart(void){
	HAL_TIM_Base_Stop(&htim2);
	__HAL_TIM_SET_COUNTER(&htim2,0);  // set the counter value a 0
	HAL_TIM_Base_Start(&htim2);
}

uint32_t timer2_ms_get(void){
	return __HAL_TIM_GET_COUNTER(&htim2);
}

void timer4_ms_restart(void){
	HAL_TIM_Base_Stop(&htim4);
	__HAL_TIM_SET_COUNTER(&htim4,0);  // set the counter value a 0
	HAL_TIM_Base_Start(&htim4);
}

uint32_t timer4_ms_get(void){
	return __HAL_TIM_GET_COUNTER(&htim4);
}

void timer5_ms_restart(void){
	HAL_TIM_Base_Stop(&htim5);
	__HAL_TIM_SET_COUNTER(&htim5,0);  // set the counter value a 0
	HAL_TIM_Base_Start(&htim5);
}

uint32_t timer5_ms_get(void){
	return __HAL_TIM_GET_COUNTER(&htim5);
}

void timer10_ms_restart(void){
	HAL_TIM_Base_Stop(&htim10);
	__HAL_TIM_SET_COUNTER(&htim10,0);  // set the counter value a 0
	HAL_TIM_Base_Start(&htim10);
}

uint32_t timer10_ms_get(void){
	return __HAL_TIM_GET_COUNTER(&htim10);
}

/* USER CODE END 4 */

void Error_Handler(void)
{
}
